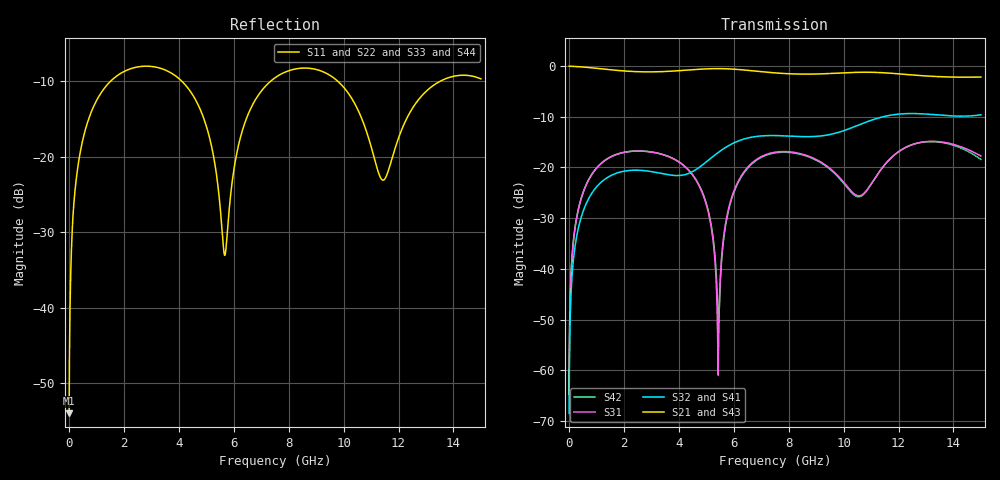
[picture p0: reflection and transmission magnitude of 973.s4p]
! Created with skrf 1.8.0 (http://scikit-rf.org).
# GHz S RI R 50.0
!freq ReS11 ImS11 ReS12 ImS12 ReS13 ImS13
! ReS14 ImS14
! ReS21 ImS21 ReS22 ImS22 ReS23 ImS23
! ReS24 ImS24
! ReS31 ImS31 ReS32 ImS32 ReS33 ImS33
! ReS34 ImS34
! ReS41 ImS41 ReS42 ImS42 ReS43 ImS43
! ReS44 ImS44
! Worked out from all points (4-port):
!   2499 points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, 5 MHz to 15 GHz, reference 50 ohm
!   strongest paths, dB at 5 MHz, 3.476 GHz, 7.19 GHz, 11.1 GHz, 15 GHz:
!     S21: 0.0, -1.1, -1.2, -1.2, -2.2
!     S43: 0.0, -1.1, -1.2, -1.2, -2.1
!     S32: -68.5, -21.3, -13.7, -10.5, -9.6
!     S41: -68.5, -21.3, -13.7, -10.5, -9.6
!     S31: -64.7, -17.6, -17.4, -22.5, -17.7
!     S42: -64.7, -17.5, -17.6, -22.5, -18.4
!   lowest |S11| = -54.0 dB at 5 MHz (marker M1), VSWR 1.00, Z = 50.2 + j0.122 ohm
!   |S11| at or under -10 dB: start of sweep to 1.514 GHz; 4.111 GHz to 7.342 GHz (3.231 GHz wide, 56.4 % of centre); 9.789 GHz to 13.52 GHz (3.727 GHz wide, 32 % of centre)
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0.005  0.00158 0.00121  0.9984 -0.00308  7.75e-05 0.000574  -7.56e-05 -0.000368
       0.9984 -0.00308  0.00158 0.00121  -7.56e-05 -0.000368  7.75e-05 0.000574
       7.75e-05 0.000574  -7.56e-05 -0.000368  0.00158 0.00121  0.9984 -0.00308
       -7.56e-05 -0.000368  7.75e-05 0.000574  0.9984 -0.00308  0.00158 0.00121
0.3126303  0.0226 0.0799  0.9692 -0.1921  0.00953 0.0343  -0.00804 -0.0218
           0.9692 -0.1921  0.0226 0.0799  -0.00804 -0.0218  0.00956 0.0343
           0.00953 0.0343  -0.00804 -0.0218  0.0226 0.0799  0.9692 -0.1921
           -0.00804 -0.0218  0.00956 0.0343  0.9692 -0.1921  0.0226 0.0799
1.569404  0.2653 0.1846  0.5643 -0.7223  0.1155 0.0576  -0.0839 -0.00879
          0.5643 -0.7223  0.2651 0.1848  -0.0839 -0.00876  0.1159 0.0571
          0.1155 0.0576  -0.0839 -0.00876  0.2653 0.1845  0.5643 -0.7223
          -0.0839 -0.00879  0.1159 0.0571  0.5643 -0.7223  0.2651 0.1848
4.595665  0.1575 -0.182  -0.712 -0.5913  0.0361 -0.0683  -0.0416 0.0846
          -0.712 -0.5913  0.1582 -0.1809  -0.0414 0.0847  0.0335 -0.0707
          0.0361 -0.0683  -0.0414 0.0847  0.1572 -0.1817  -0.7121 -0.5912
          -0.0416 0.0846  0.0335 -0.0707  -0.7121 -0.5912  0.158 -0.1806
5.433514  0.0294 -0.0546  -0.9246 -0.1921  0.000893 -3.56e-05  -0.0244 0.1385
          -0.9246 -0.1921  0.0303 -0.0538  -0.024 0.1385  -0.00305 -0.00103
          0.000893 -3.56e-05  -0.024 0.1385  0.0291 -0.054  -0.9247 -0.1918
          -0.0244 0.1385  -0.00305 -0.00103  -0.9247 -0.1918  0.0302 -0.0531
8.791163  0.3836 -0.0289  0.0165 0.8334  0.0906 -0.0892  0.1951 -0.0488
          0.0165 0.8334  0.3842 -0.0277  0.1952 -0.0498  0.0907 -0.0864
          0.0906 -0.0892  0.1952 -0.0498  0.3859 -0.0279  0.0163 0.8324
          0.1951 -0.0488  0.0907 -0.0864  0.0163 0.8324  0.3866 -0.0288
15  0.3199 -0.0723  -0.1563 -0.7641  0.0147 -0.129  -0.3185 0.0892
    -0.1563 -0.7641  0.3256 -0.0699  -0.3178 0.0916  0.02 -0.1183
    0.0147 -0.129  -0.3178 0.0916  0.3148 -0.0716  -0.1565 -0.766
    -0.3185 0.0892  0.02 -0.1183  -0.1565 -0.766  0.3206 -0.0684
